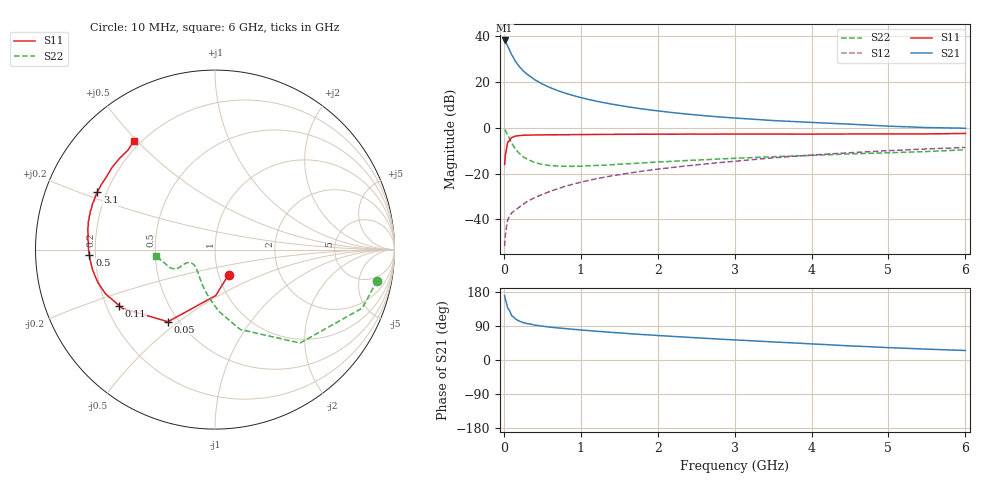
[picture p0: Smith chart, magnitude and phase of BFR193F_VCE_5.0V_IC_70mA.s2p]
! (c) 2017  Infineon Technologies AG, Munich
! Infineon Technologies  Discrete & RF Semiconductors
! BFR193F
! VCE =  5.0 V,  IC =  70 mA
! Common Emitter S-Parameters:  Jan 2017
# GHz  S  MA  R  50
!  f  S11  S21  S12  S22
! GHz  MAG  ANG  MAG  ANG  MAG  ANG  MAG  ANG
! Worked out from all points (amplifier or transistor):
!   77 points, 10 MHz to 6 GHz, reference 50 ohm
!   highest |S21| = 38.2 dB at 10 MHz (marker M1)
!   |S21| within 3 dB of that: start of sweep to 57.97 MHz
!   unconditionally stable (mu >= 1): 658.4 MHz to 2.434 GHz
!   at 130 MHz: K = 0.57, MSG = 33.4 dB, |S12| = -36.4 dB
!   at 2.2 GHz: K = 1.01, MAG = 11.2 dB, |S12| = -17.3 dB
!   at 6 GHz: K = 0.86, MSG = 4.2 dB, |S12| = -8.6 dB
!   S11 on the Smith chart (normalised r, x): 10 MHz: 1.12, -0.32; 50 MHz: 0.44, -0.46; 110 MHz: 0.25, -0.25; 500 MHz: 0.18, -0.02; 3.1 GHz: 0.16, +0.23; 6 GHz: 0.17, +0.49
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0.01  0.159 -61.5  80.94 169.8  0.0026 81.8  0.9192 -10.8
0.02  0.2557 -89.0  77.63 159.6  0.0044 68.5  0.8834 -21.6
0.05  0.4795 -123.1  61.05 137.2  0.0097 61.0  0.7039 -47.7
0.1  0.6107 -147.5  39.76 117.4  0.0137 54.8  0.4664 -72.5
0.11  0.6185 -149.7  37.43 116.0  0.0142 54.8  0.4402 -74.7
0.15  0.6584 -158.1  28.42 108.2  0.016 54.9  0.3442 -86.5
0.2  0.6773 -164.1  21.87 102.6  0.0185 57.4  0.2777 -95.7
0.25  0.6858 -168.3  17.7 98.9  0.0212 61.1  0.2332 -103.9
0.3  0.6916 -170.8  14.88 96.2  0.0244 63.9  0.2082 -109.8
0.4  0.6976 -175.0  11.25 92.2  0.0297 66.8  0.175 -119.8
0.5  0.7004 -177.6  9.052 89.3  0.0351 69.4  0.1582 -127.1
0.6  0.7043 -179.7  7.575 86.8  0.0408 71.0  0.1498 -133.3
0.7  0.706 178.2  6.503 84.7  0.0466 72.5  0.1463 -137.6
0.8  0.7066 176.8  5.697 82.9  0.053 73.0  0.1444 -141.7
0.9  0.7113 175.0  5.084 81.0  0.0588 73.9  0.1441 -144.4
1.1  0.7136 172.5  4.172 77.6  0.0708 74.6  0.1483 -148.2
1.5  0.7216 168.0  3.091 71.5  0.0947 75.1  0.1602 -152.9
2.1  0.7262 162.2  2.243 63.5  0.1308 74.5  0.1826 -154.9
3.1  0.7295 153.9  1.597 52.0  0.1926 72.1  0.2193 -153.4
4.1  0.7288 145.1  1.288 41.5  0.2604 67.7  0.2535 -155.2
5.1  0.7355 135.3  1.072 31.8  0.3227 61.8  0.2887 -164.4
6  0.7542 126.9  0.98 25.1  0.3726 56.3  0.3321 -173.9
